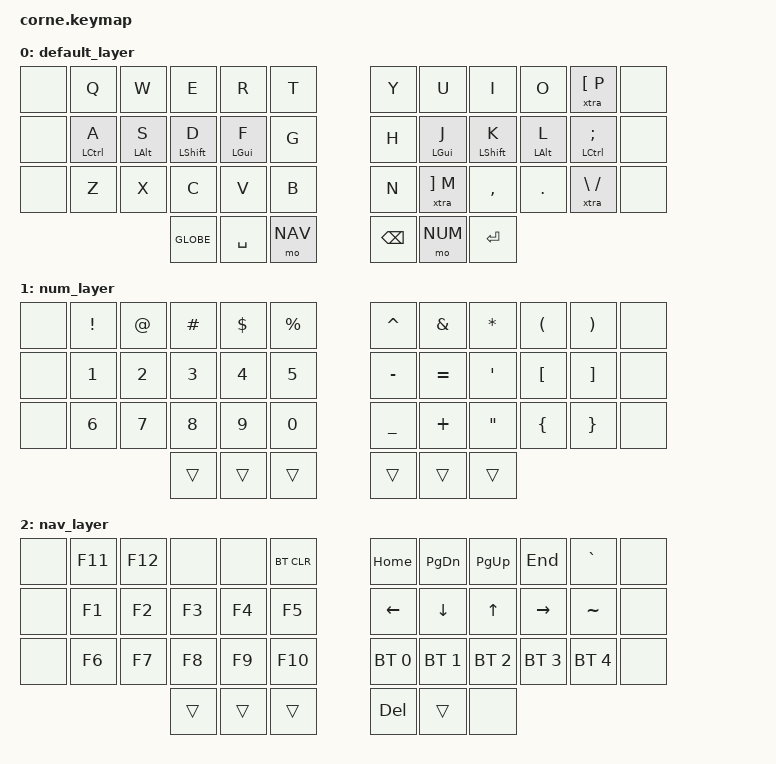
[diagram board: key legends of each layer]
#include <behaviors.dtsi>
#include <dt-bindings/zmk/bt.h>
#include <dt-bindings/zmk/keys.h>
#include "../zmk-nodefree-config/helper.h"
#include "../zmk-nodefree-config/keypos_def/keypos_36keys.h"

/* layer and key shortcuts */

#define ___ &trans

#define DEF 0  // layer shortcuts, must match order in which they are defined below
#define NUM 1
#define NAV 2


/* custom behaviors */

// homerow mods
ZMK_BEHAVIOR(hrm, hold_tap,
    flavor = "balanced";
    tapping-term-ms = <280>;
    quick-tap-ms = <125>;
    bindings = <&kp>, <&kp>;
)

ZMK_BEHAVIOR(xtra, hold_tap,
    flavor = "balanced";
    tapping-term-ms = <280>;
    quick-tap-ms = <125>;
    bindings = <&kp>, <&kp>;
)

#undef COMBO_TERM
#define COMBO_TERM 40  // timeout of 40ms (default is 30ms if omitted)
ZMK_COMBO(combo_esc,  &kp ESC, 3 4, DEF)  // custom sleep macro, only active on NAV layer
ZMK_COMBO(combo_tab_l,  &kp TAB, 5 6, DEF)


ZMK_LAYER(default_layer,
     // ╭─────────────┬─────────────┬─────────────┬─────────────┬─────────────┬─────────────╮    ╭─────────────┬─────────────┬─────────────┬─────────────┬─────────────┬─────────────╮
              &none     &kp Q         &kp W         &kp E         &kp R         &kp T               &kp Y         &kp U         &kp I         &kp O         &xtra LBKT P     &none 
     // ├─────────────├─────────────┼─────────────┼─────────────┼─────────────┼─────────────┤    ├─────────────┼─────────────┼─────────────┼─────────────┬─────────────┼─────────────┤
              &none     &hrm LCTRL A  &hrm LALT S   &hrm LSHFT D  &hrm LGUI F   &kp G               &kp H         &hrm LGUI J   &hrm LSHIFT K &hrm LALT L   &hrm LCTRL SEMI  &none 
     // ├─────────────├─────────────┼─────────────┼─────────────┼─────────────┼─────────────┤    ├─────────────┼─────────────┼─────────────┼─────────────┬─────────────┼─────────────┤
              &none     &kp Z         &kp X         &kp C         &kp V         &kp B               &kp N         &xtra RBKT M  &kp COMMA     &kp DOT       &xtra BSLH FSLH  &none 
     // ╰─────────────├─────────────┼─────────────┼─────────────┼─────────────┼─────────────┤    ├─────────────┼─────────────┼─────────────┼─────────────┬─────────────┼─────────────┤
                                                    &kp GLOBE     &kp SPACE     &mo NAV             &kp BSPC        &mo NUM       &kp RET 
     //                                           ╰─────────────┴─────────────┴─────────────╯    ╰─────────────┴─────────────┴─────────────╯
)

ZMK_LAYER(num_layer,
     // ╭─────────────┬─────────────┬─────────────┬─────────────┬─────────────┬─────────────╮    ╭─────────────┬─────────────┬─────────────┬─────────────┬─────────────┬─────────────╮
              &none      &kp EXCL      &kp AT        &kp HASH      &kp DLLR      &kp PRCNT         &kp CARET     &kp AMPS      &kp STAR      &kp LPAR      &kp RPAR         &none 
     // ├─────────────├─────────────┼─────────────┼─────────────┼─────────────┼─────────────┤    ├─────────────┼─────────────┼─────────────┼─────────────┬─────────────┼─────────────┤
              &none      &kp N1        &kp N2        &kp N3        &kp N4        &kp N5            &kp MINUS     &kp EQUAL     &kp SQT       &kp LBKT      &kp RBKT         &none 
     // ├─────────────├─────────────┼─────────────┼─────────────┼─────────────┼─────────────┤    ├─────────────┼─────────────┼─────────────┼─────────────┬─────────────┼─────────────┤
              &none      &kp N6        &kp N7        &kp N8        &kp N9        &kp N0            &kp UNDER     &kp PLUS      &kp DQT       &kp LBRC      &kp RBRC         &none 
     // ╰─────────────├─────────────┼─────────────┼─────────────┼─────────────┼─────────────┤    ├─────────────┼─────────────┼─────────────┼─────────────┬─────────────┼─────────────┤
                                                    ___           ___           ___                ___           ___           ___
     //                                           ╰─────────────┴─────────────┴─────────────╯    ╰─────────────┴─────────────┴─────────────╯
)

ZMK_LAYER(nav_layer,
     // ╭─────────────┬─────────────┬─────────────┬─────────────┬─────────────┬─────────────╮    ╭─────────────┬─────────────┬─────────────┬─────────────┬─────────────┬─────────────╮
             &none       &kp F11       &kp F12       &none         &none         &bt BT_CLR        &kp HOME       &kp PG_DN    &kp PG_UP     &kp END       &kp GRAVE       &none 
     // ├─────────────├─────────────┼─────────────┼─────────────┼─────────────┼─────────────┤    ├─────────────┼─────────────┼─────────────┼─────────────┬─────────────┼─────────────┤
             &none       &kp F1        &kp F2        &kp F3        &kp F4        &kp F5            &kp LEFT       &kp DOWN     &kp UP        &kp RIGHT     &kp TILDE        &none 
     // ├─────────────├─────────────┼─────────────┼─────────────┼─────────────┼─────────────┤    ├─────────────┼─────────────┼─────────────┼─────────────┬─────────────┼─────────────┤
             &none       &kp F6        &kp F7        &kp F8        &kp F9        &kp F10           &bt BT_SEL 0   &bt BT_SEL 1 &bt BT_SEL 2  &bt BT_SEL 3  &bt BT_SEL 4     &none 
     // ╰─────────────├─────────────┼─────────────┼─────────────┼─────────────┼─────────────┤    ├─────────────┼─────────────┼─────────────┼─────────────┬─────────────┼─────────────┤
                                                    ___           ___           ___                &kp DELETE        ___       &none
     //                                           ╰─────────────┴─────────────┴─────────────╯    ╰─────────────┴─────────────┴─────────────╯
)
